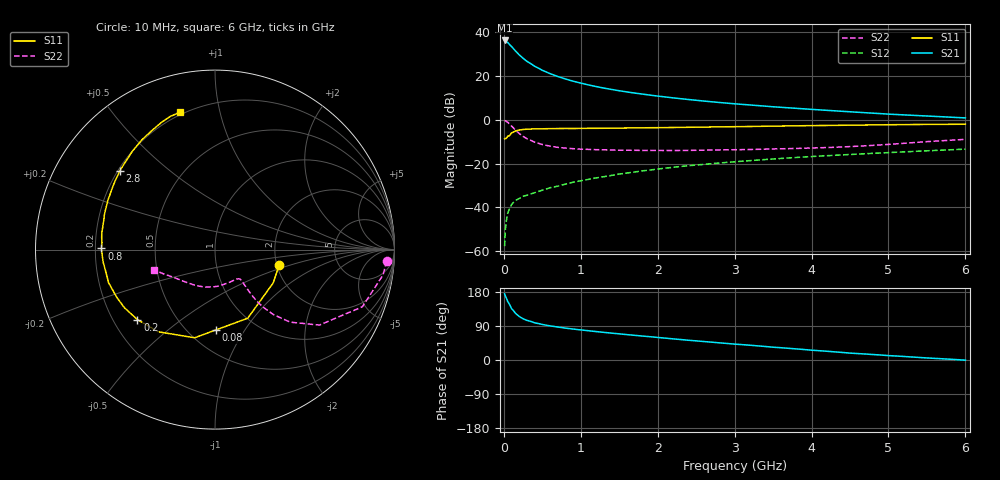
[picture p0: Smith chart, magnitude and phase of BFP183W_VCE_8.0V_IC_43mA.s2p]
! (c) 2017  Infineon Technologies AG, Munich
! Infineon Technologies  Discrete & RF Semiconductors
! BFP183W
! VCE =  8.0 V,  IC =  43 mA
! Common Emitter S-Parameters:  Jan 2017
# GHz  S  MA  R  50
!  f  S11  S21  S12  S22
! GHz  MAG  ANG  MAG  ANG  MAG  ANG  MAG  ANG
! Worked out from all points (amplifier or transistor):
!   77 points, 10 MHz to 6 GHz, reference 50 ohm
!   highest |S21| = 36.2 dB at 10 MHz (marker M1)
!   |S21| within 3 dB of that: start of sweep to 106.1 MHz
!   unconditionally stable (mu >= 1): 838.5 MHz to 3.343 GHz
!   at 130 MHz: K = 0.35, MSG = 34.9 dB, |S12| = -37.6 dB
!   at 2.2 GHz: K = 1.06, MAG = 14.4 dB, |S12| = -21.7 dB
!   at 6 GHz: K = 0.85, MSG = 7.1 dB, |S12| = -13.4 dB
!   S11 on the Smith chart (normalised r, x): 10 MHz: 2.06, -0.40; 80 MHz: 0.67, -0.75; 200 MHz: 0.30, -0.35; 800 MHz: 0.22, +0.00; 2.8 GHz: 0.21, +0.35; 6 GHz: 0.19, +0.76
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0.01  0.3678 -13.1  64.56 174.6  0.0013 84.2  0.9583 -3.8
0.02  0.3737 -29.7  63.68 168.9  0.0032 91.3  0.9468 -8.6
0.05  0.4236 -64.5  58.23 154.5  0.0073 68.9  0.8806 -21.2
0.08  0.4477 -89.4  50.79 144.1  0.0099 62.4  0.7771 -29.2
0.1  0.5042 -103.0  46.98 135.6  0.0116 59.7  0.7186 -35.8
0.15  0.5568 -124.7  37.38 123.4  0.0143 53.5  0.5816 -44.0
0.2  0.5822 -138.0  30.31 114.9  0.0159 51.2  0.4856 -48.1
0.25  0.5997 -147.3  25.31 108.9  0.0179 50.8  0.4173 -50.1
0.3  0.6082 -153.8  21.57 104.6  0.0189 49.5  0.3687 -51.0
0.4  0.6209 -162.7  16.65 98.2  0.0216 53.1  0.3074 -50.9
0.5  0.6212 -169.0  13.45 93.7  0.0246 55.1  0.2722 -50.4
0.6  0.6269 -173.6  11.31 90.1  0.028 57.3  0.2496 -50.0
0.7  0.6295 -177.3  9.72 87.1  0.0304 59.9  0.2343 -49.3
0.8  0.6328 179.4  8.542 84.2  0.034 61.8  0.2253 -49.1
1.1  0.6377 171.4  6.24 77.2  0.0436 63.9  0.2106 -50.7
1.5  0.6456 163.0  4.593 69.0  0.0575 64.7  0.202 -55.5
2.1  0.662 151.6  3.311 57.7  0.0785 63.8  0.1988 -67.6
2.8  0.6883 140.3  2.479 45.3  0.1029 60.7  0.2047 -85.9
3.1  0.6976 135.8  2.242 40.5  0.1132 59.0  0.2079 -94.0
4.1  0.7377 122.4  1.683 24.5  0.1478 52.9  0.2291 -120.9
5.1  0.7715 111.9  1.317 10.5  0.1812 46.5  0.2815 -147.2
6  0.7898 104.1  1.101 -0.4  0.2132 40.2  0.3567 -161.4
